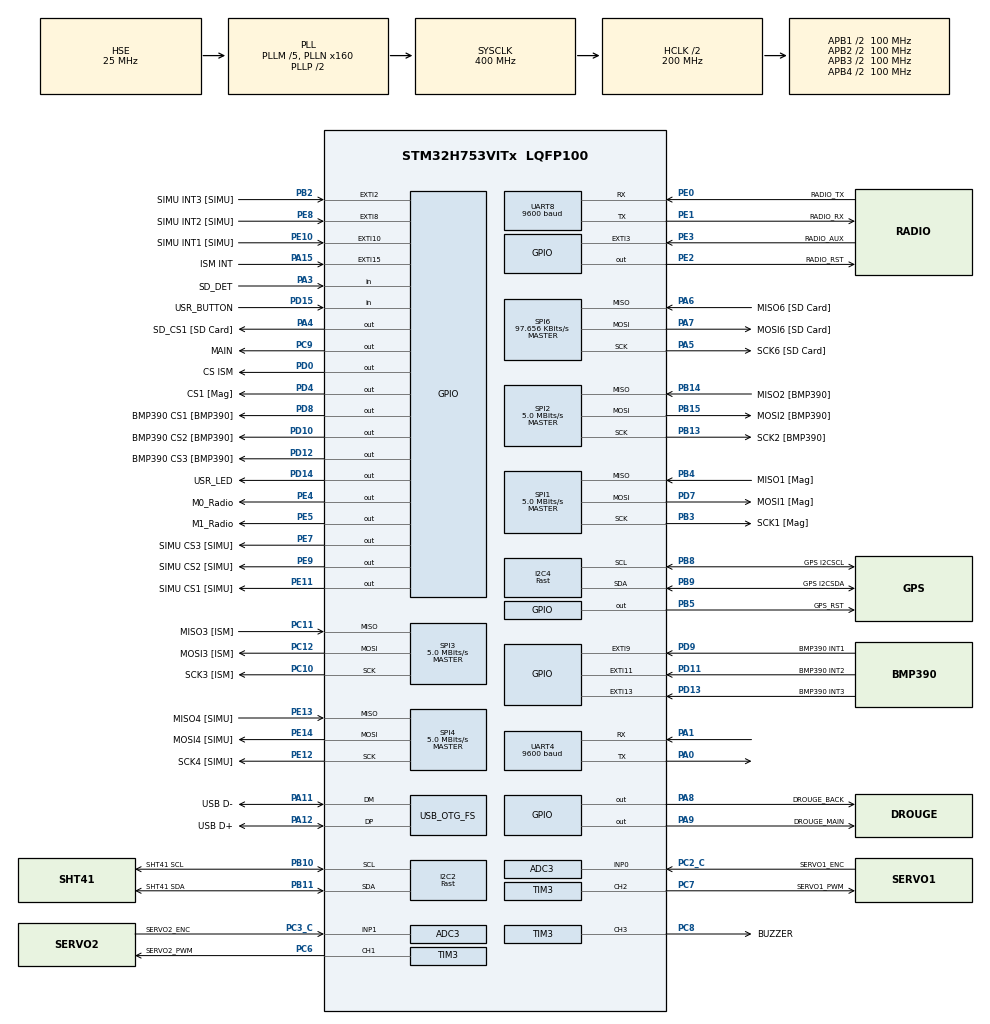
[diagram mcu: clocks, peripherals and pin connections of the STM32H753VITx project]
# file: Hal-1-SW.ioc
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ADC3.Channel-0\#ChannelRegularConversion=ADC_CHANNEL_0
ADC3.Channel-1\#ChannelRegularConversion=ADC_CHANNEL_1
ADC3.ContinuousConvMode=DISABLE
ADC3.EOCSelection=ADC_EOC_SINGLE_CONV
ADC3.NbrOfConversion=2
ADC3.NbrOfConversionFlag=1
ADC3.OffsetNumber-0\#ChannelRegularConversion=ADC_OFFSET_NONE
ADC3.OffsetNumber-1\#ChannelRegularConversion=ADC_OFFSET_NONE
ADC3.OffsetSignedSaturation-0\#ChannelRegularConversion=DISABLE
ADC3.OffsetSignedSaturation-1\#ChannelRegularConversion=DISABLE
ADC3.Overrun=ADC_OVR_DATA_OVERWRITTEN
ADC3.Rank-0\#ChannelRegularConversion=1
ADC3.Rank-1\#ChannelRegularConversion=2
ADC3.Resolution=ADC_RESOLUTION_16B
ADC3.SamplingTime-0\#ChannelRegularConversion=ADC_SAMPLETIME_810CYCLES_5
ADC3.SamplingTime-1\#ChannelRegularConversion=ADC_SAMPLETIME_810CYCLES_5
CORTEX_M7.default_mode_Activation=1
FREERTOS.Tasks01=defaultTask,24,1024,StartDefaultTask,Default,NULL,Dynamic,NULL,NULL
FREERTOS.configTOTAL_HEAP_SIZE=48000
I2C2.I2C_Speed_Mode=I2C_Fast
I2C2.Timing=0x009034B6
I2C4.I2C_Speed_Mode=I2C_Fast
I2C4.Timing=0x009034B6
Mcu.Family=STM32H7
Mcu.Name=STM32H753VITx
Mcu.Package=LQFP100
NVIC.EXTI3_IRQn=true\:5\:0\:false\:false\:true\:true\:true\:true\:true
NVIC.PriorityGroup=NVIC_PRIORITYGROUP_4
NVIC.TIM1_UP_IRQn=true\:15\:0\:false\:false\:true\:false\:false\:true\:true
NVIC.TimeBase=TIM1_UP_IRQn
NVIC.TimeBaseIP=TIM1
NVIC.UART8_IRQn=true\:5\:0\:false\:false\:true\:true\:true\:true\:true
PA0.Mode=Asynchronous
PA0.Signal=UART4_TX
PA1.Mode=Asynchronous
PA1.Signal=UART4_RX
PA11.GPIO_Label=USB D-
PA11.Mode=Device_Only
PA11.Signal=USB_OTG_FS_DM
PA12.GPIO_Label=USB D+
PA12.Mode=Device_Only
PA12.Signal=USB_OTG_FS_DP
PA13\ (JTMS/SWDIO).Mode=Serial_Wire
PA13\ (JTMS/SWDIO).Signal=DEBUG_JTMS-SWDIO
PA14\ (JTCK/SWCLK).Mode=Serial_Wire
PA14\ (JTCK/SWCLK).Signal=DEBUG_JTCK-SWCLK
PA15\ (JTDI).GPIO_Label=ISM INT
PA15\ (JTDI).Signal=GPXTI15
PA3.GPIO_Label=SD_DET
PA3.Signal=GPIO_Input
PA4.GPIO_Label=SD_CS1 [SD Card]
PA4.Signal=GPIO_Output
PA5.GPIO_Label=SCK6 [SD Card]
PA5.Mode=Full_Duplex_Master
PA5.Signal=SPI6_SCK
PA6.GPIO_Label=MISO6 [SD Card]
PA6.Mode=Full_Duplex_Master
PA6.Signal=SPI6_MISO
PA7.GPIO_Label=MOSI6 [SD Card]
PA7.Mode=Full_Duplex_Master
PA7.Signal=SPI6_MOSI
PA8.GPIO_Label=DROUGE_BACK
PA8.Signal=GPIO_Output
PA9.GPIO_Label=DROUGE_MAIN
PA9.Signal=GPIO_Output
PB10.GPIO_Label=SHT41 SCL
PB10.GPIO_Speed=GPIO_SPEED_FREQ_HIGH
PB10.Mode=I2C
PB10.Signal=I2C2_SCL
PB11.GPIO_Label=SHT41 SDA
PB11.GPIO_Speed=GPIO_SPEED_FREQ_HIGH
PB11.Mode=I2C
PB11.Signal=I2C2_SDA
PB13.GPIO_Label=SCK2 [BMP390]
PB13.GPIO_Speed=GPIO_SPEED_FREQ_VERY_HIGH
PB13.Mode=Full_Duplex_Master
PB13.Signal=SPI2_SCK
PB14.GPIO_Label=MISO2 [BMP390]
PB14.GPIO_Speed=GPIO_SPEED_FREQ_VERY_HIGH
PB14.Mode=Full_Duplex_Master
PB14.Signal=SPI2_MISO
PB15.GPIO_Label=MOSI2 [BMP390]
PB15.GPIO_Speed=GPIO_SPEED_FREQ_VERY_HIGH
PB15.Mode=Full_Duplex_Master
PB15.Signal=SPI2_MOSI
PB2.GPIO_Label=SIMU INT3 [SIMU]
PB2.Signal=GPXTI2
PB3\ (JTDO/TRACESWO).GPIO_Label=SCK1 [Mag]
PB3\ (JTDO/TRACESWO).Mode=Full_Duplex_Master
PB3\ (JTDO/TRACESWO).Signal=SPI1_SCK
PB4\ (NJTRST).GPIO_Label=MISO1 [Mag]
PB4\ (NJTRST).Mode=Full_Duplex_Master
PB4\ (NJTRST).Signal=SPI1_MISO
PB5.GPIO_Label=GPS_RST
PB5.Signal=GPIO_Output
PB8.GPIO_Label=GPS I2CSCL
PB8.GPIO_Speed=GPIO_SPEED_FREQ_HIGH
PB8.Mode=I2C
PB8.Signal=I2C4_SCL
PB9.GPIO_Label=GPS I2CSDA
PB9.GPIO_Speed=GPIO_SPEED_FREQ_HIGH
PB9.Mode=I2C
PB9.Signal=I2C4_SDA
PC10.GPIO_Label=SCK3 [ISM]
PC10.Mode=Full_Duplex_Master
PC10.Signal=SPI3_SCK
PC11.GPIO_Label=MISO3 [ISM]
PC11.Mode=Full_Duplex_Master
PC11.Signal=SPI3_MISO
PC12.GPIO_Label=MOSI3 [ISM]
PC12.Mode=Full_Duplex_Master
PC12.Signal=SPI3_MOSI
PC2_C.GPIO_Label=SERVO1_ENC
PC2_C.GPIO_Mode=GPIO_MODE_ANALOG
PC2_C.GPIO_Pd=GPIO_NOPULL
PC2_C.Mode=IN0-Single-Ended
PC2_C.Signal=ADC3_INP0
PC3_C.GPIO_Label=SERVO2_ENC
PC3_C.Mode=IN1-Single-Ended
PC3_C.Signal=ADC3_INP1
PC6.GPIO_Label=SERVO2_PWM
PC6.Signal=S_TIM3_CH1
PC7.GPIO_Label=SERVO1_PWM
PC7.Signal=S_TIM3_CH2
PC8.GPIO_Label=BUZZER
PC8.Signal=S_TIM3_CH3
PC9.GPIO_Label=MAIN
PC9.Signal=GPIO_Output
PD0.GPIO_Label=CS ISM
PD0.Signal=GPIO_Output
PD10.GPIO_Label=BMP390 CS2 [BMP390]
PD10.Signal=GPIO_Output
PD11.GPIO_Label=BMP390 INT2
PD11.Signal=GPXTI11
PD12.GPIO_Label=BMP390 CS3 [BMP390]
PD12.Signal=GPIO_Output
PD13.GPIO_Label=BMP390 INT3
PD13.Signal=GPXTI13
PD14.GPIO_Label=USR_LED
PD14.Signal=GPIO_Output
PD15.GPIO_Label=USR_BUTTON
PD15.Signal=GPIO_Input
PD4.GPIO_Label=CS1 [Mag]
PD4.Signal=GPIO_Output
PD7.GPIO_Label=MOSI1 [Mag]
PD7.Mode=Full_Duplex_Master
PD7.Signal=SPI1_MOSI
PD8.GPIO_Label=BMP390 CS1 [BMP390]
PD8.Signal=GPIO_Output
PD9.GPIO_Label=BMP390 INT1
PD9.Signal=GPXTI9
PE0.GPIO_Label=RADIO_TX
PE0.GPIO_Speed=GPIO_SPEED_FREQ_VERY_HIGH
PE0.Mode=Asynchronous
PE0.Signal=UART8_RX
PE1.GPIO_Label=RADIO_RX
PE1.GPIO_Speed=GPIO_SPEED_FREQ_VERY_HIGH
PE1.Mode=Asynchronous
PE1.Signal=UART8_TX
PE10.GPIO_Label=SIMU INT1 [SIMU]
PE10.Signal=GPXTI10
PE11.GPIO_Label=SIMU CS1 [SIMU]
PE11.Signal=GPIO_Output
PE12.GPIO_Label=SCK4 [SIMU]
PE12.GPIO_Speed=GPIO_SPEED_FREQ_HIGH
PE12.Mode=Full_Duplex_Master
PE12.Signal=SPI4_SCK
PE13.GPIO_Label=MISO4 [SIMU]
PE13.GPIO_Speed=GPIO_SPEED_FREQ_HIGH
PE13.Mode=Full_Duplex_Master
PE13.Signal=SPI4_MISO
PE14.GPIO_Label=MOSI4 [SIMU]
PE14.GPIO_Speed=GPIO_SPEED_FREQ_HIGH
PE14.Mode=Full_Duplex_Master
PE14.Signal=SPI4_MOSI
PE2.GPIO_Label=RADIO_RST
PE2.Signal=GPIO_Output
PE3.GPIO_Label=RADIO_AUX
PE3.Signal=GPXTI3
PE4.GPIO_Label=M0_Radio
PE4.Signal=GPIO_Output
PE5.GPIO_Label=M1_Radio
PE5.Signal=GPIO_Output
PE7.GPIO_Label=SIMU CS3 [SIMU]
PE7.Signal=GPIO_Output
PE8.GPIO_Label=SIMU INT2 [SIMU]
PE8.Signal=GPXTI8
PE9.GPIO_Label=SIMU CS2 [SIMU]
PE9.Signal=GPIO_Output
PH0-OSC_IN\ (PH0).Mode=HSE-External-Clock-Source
PH0-OSC_IN\ (PH0).Signal=RCC_OSC_IN
ProjectManager.HeapSize=0x200
ProjectManager.StackSize=0x400
ProjectManager.TargetToolchain=CMake
RCC.ADCFreq_Value=10000000
RCC.APB1Freq_Value=100000000
RCC.APB2Freq_Value=100000000
RCC.APB3Freq_Value=100000000
RCC.APB4Freq_Value=100000000
RCC.CortexFreq_Value=400000000
RCC.D1PPRE=RCC_APB3_DIV2
RCC.D2PPRE1=RCC_APB1_DIV2
RCC.D2PPRE2=RCC_APB2_DIV2
RCC.D3PPRE=RCC_APB4_DIV2
RCC.DIVM1=5
RCC.DIVM2=2
RCC.DIVM3=5
RCC.DIVN1=160
RCC.DIVN2=12
RCC.DIVN3=30
RCC.DIVP2=15
RCC.DIVP3=15
RCC.DIVQ1=5
RCC.DIVQ2=15
RCC.DIVQ3=6
RCC.DIVR3=3
RCC.HCLKFreq_Value=200000000
RCC.HPRE=RCC_HCLK_DIV2
RCC.PLL2FRACN=0
RCC.PLL2_VCI_Range-AdvancedSettings=RCC_PLL2VCIRANGE_0
RCC.PLL3FRACN=0
RCC.PLLFRACN=0
RCC.PLLSourceVirtual=RCC_PLLSOURCE_HSE
RCC.SPI123CLockSelection=RCC_SPI123CLKSOURCE_PLL2
RCC.SPI6CLockSelection=RCC_SPI6CLKSOURCE_PLL3
RCC.SYSCLKFreq_VALUE=400000000
RCC.SYSCLKSource=RCC_SYSCLKSOURCE_PLLCLK
RCC.Spi45ClockSelection=RCC_SPI45CLKSOURCE_PLL2
RCC.USART234578CLockSelection=RCC_USART234578CLKSOURCE_PLL2
RCC.USBCLockSelection=RCC_USBCLKSOURCE_PLL3
RCC.USBFreq_Value=25000000
SH.S_TIM3_CH1.0=TIM3_CH1,PWM Generation1 CH1
SH.S_TIM3_CH2.0=TIM3_CH2,PWM Generation2 CH2
SH.S_TIM3_CH3.0=TIM3_CH3,PWM Generation3 CH3
SPI1.BaudRatePrescaler=SPI_BAUDRATEPRESCALER_2
SPI1.CLKPhase=SPI_PHASE_1EDGE
SPI1.CalculateBaudRate=5.0 MBits/s
SPI1.Direction=SPI_DIRECTION_2LINES
SPI1.Mode=SPI_MODE_MASTER
SPI1.VirtualType=VM_MASTER
SPI2.BaudRatePrescaler=SPI_BAUDRATEPRESCALER_2
SPI2.CLKPhase=SPI_PHASE_1EDGE
SPI2.CalculateBaudRate=5.0 MBits/s
SPI2.DataSize=SPI_DATASIZE_8BIT
SPI2.Direction=SPI_DIRECTION_2LINES
SPI2.Mode=SPI_MODE_MASTER
SPI2.VirtualType=VM_MASTER
SPI3.BaudRatePrescaler=SPI_BAUDRATEPRESCALER_2
SPI3.CalculateBaudRate=5.0 MBits/s
SPI3.Direction=SPI_DIRECTION_2LINES
SPI3.Mode=SPI_MODE_MASTER
SPI3.VirtualType=VM_MASTER
SPI4.BaudRatePrescaler=SPI_BAUDRATEPRESCALER_2
SPI4.CalculateBaudRate=5.0 MBits/s
SPI4.DataSize=SPI_DATASIZE_8BIT
SPI4.Direction=SPI_DIRECTION_2LINES
SPI4.Mode=SPI_MODE_MASTER
SPI4.VirtualType=VM_MASTER
SPI6.BaudRatePrescaler=SPI_BAUDRATEPRESCALER_256
SPI6.CalculateBaudRate=97.656 KBits/s
SPI6.DataSize=SPI_DATASIZE_8BIT
SPI6.Direction=SPI_DIRECTION_2LINES
SPI6.Mode=SPI_MODE_MASTER
SPI6.VirtualType=VM_MASTER
TIM3.Channel-PWM\ Generation1\ CH1=TIM_CHANNEL_1
TIM3.Channel-PWM\ Generation2\ CH2=TIM_CHANNEL_2
TIM3.Channel-PWM\ Generation3\ CH3=TIM_CHANNEL_3
TIM3.Prescaler=99
UART4.BaudRate=9600
UART8.AutoBaudRateEnableParam=UART_ADVFEATURE_AUTOBAUDRATE_DISABLE
UART8.BaudRate=9600
UART8.DMADisableonRxErrorParam=UART_ADVFEATURE_DMA_DISABLEONRXERROR
UART8.FIFOMode=FIFOMODE_ENABLE
UART8.MSBFirstParam=UART_ADVFEATURE_MSBFIRST_DISABLE
UART8.OverSampling=UART_OVERSAMPLING_16
UART8.OverrunDisableParam=UART_ADVFEATURE_OVERRUN_DISABLE
UART8.SwapParam=UART_ADVFEATURE_SWAP_ENABLE
USB_OTG_FS.VirtualMode=Device_Only
VP_FATFS_VS_Generic.Mode=User_defined
VP_FREERTOS_VS_CMSIS_V2.Mode=CMSIS_V2
VP_MEMORYMAP_VS_MEMORYMAP.Mode=CurAppReg
VP_SYS_VS_tim1.Mode=TIM1
board=custom

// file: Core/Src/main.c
/* USER CODE BEGIN Header */
/**
  ******************************************************************************
  * @file           : main.c
  * @brief          : Main program body
  ******************************************************************************
  * @attention
  *
  * Copyright (c) 2025 STMicroelectronics.
  * All rights reserved.
  *
  * This software is licensed under terms that can be found in the LICENSE file
  * in the root directory of this software component.
  * If no LICENSE file comes with this software, it is provided AS-IS.
  *
  ******************************************************************************
  */
/* USER CODE END Header */
#include "main.h"
#include "cmsis_os.h"
#include "adc.h"
#include "fatfs.h"
#include "i2c.h"
#include "spi.h"
#include "tim.h"
#include "usart.h"
#include "usb_otg.h"
#include "gpio.h"

/* USER CODE BEGIN Includes */
#include "timing.h"
/* USER CODE END Includes */

void SystemClock_Config(void);
void PeriphCommonClock_Config(void);
static void MPU_Config(void);
void MX_FREERTOS_Init(void);

int main(void)
{

  /* MPU Configuration--------------------------------------------------------*/
  MPU_Config();

  /* MCU Configuration--------------------------------------------------------*/

  /* Reset of all peripherals, Initializes the Flash interface and the Systick. */
  HAL_Init();

  /* Configure the system clock */
  SystemClock_Config();

  /* Configure the peripherals common clocks */
  PeriphCommonClock_Config();

  /* Initialize all configured peripherals */
  MX_GPIO_Init();
  MX_ADC3_Init();
  MX_I2C2_Init();
  MX_I2C4_Init();
  MX_SPI1_Init();
  MX_SPI2_Init();
  MX_SPI3_Init();
  MX_SPI4_Init();
  MX_SPI6_Init();
  MX_TIM3_Init();
  MX_UART4_Init();
  MX_UART8_Init();
  MX_USB_OTG_FS_PCD_Init();
  /* MX_FATFS_Init(); */  /* moved into task() in main.cpp — must run after scheduler starts */

  /* Init scheduler */
  osKernelInitialize();  /* Call init function for freertos objects (in cmsis_os2.c) */
  MX_FREERTOS_Init();

  /* Start scheduler */
  osKernelStart();

  /* We should never get here as control is now taken by the scheduler */

  /* Infinite loop */
  while (1)
  {

  }
}

void SystemClock_Config(void)
{
  RCC_OscInitTypeDef RCC_OscInitStruct = {0};
  RCC_ClkInitTypeDef RCC_ClkInitStruct = {0};

  /** Supply configuration update enable
  */
  HAL_PWREx_ConfigSupply(PWR_LDO_SUPPLY);

  /** Configure the main internal regulator output voltage
  */
  __HAL_PWR_VOLTAGESCALING_CONFIG(PWR_REGULATOR_VOLTAGE_SCALE1);

  while(!__HAL_PWR_GET_FLAG(PWR_FLAG_VOSRDY)) {}

  /** Initializes the RCC Oscillators according to the specified parameters
  * in the RCC_OscInitTypeDef structure.
  */
  RCC_OscInitStruct.OscillatorType = RCC_OSCILLATORTYPE_HSE;
  RCC_OscInitStruct.HSEState = RCC_HSE_BYPASS;
  RCC_OscInitStruct.PLL.PLLState = RCC_PLL_ON;
  RCC_OscInitStruct.PLL.PLLSource = RCC_PLLSOURCE_HSE;
  RCC_OscInitStruct.PLL.PLLM = 5;
  RCC_OscInitStruct.PLL.PLLN = 160;
  RCC_OscInitStruct.PLL.PLLP = 2;
  RCC_OscInitStruct.PLL.PLLQ = 5;
  RCC_OscInitStruct.PLL.PLLR = 2;
  RCC_OscInitStruct.PLL.PLLRGE = RCC_PLL1VCIRANGE_2;
  RCC_OscInitStruct.PLL.PLLVCOSEL = RCC_PLL1VCOWIDE;
  RCC_OscInitStruct.PLL.PLLFRACN = 0;
  if (HAL_RCC_OscConfig(&RCC_OscInitStruct) != HAL_OK)
  {
    Error_Handler();
  }

  /** Initializes the CPU, AHB and APB buses clocks
  */
  RCC_ClkInitStruct.ClockType = RCC_CLOCKTYPE_HCLK|RCC_CLOCKTYPE_SYSCLK
                              |RCC_CLOCKTYPE_PCLK1|RCC_CLOCKTYPE_PCLK2
                              |RCC_CLOCKTYPE_D3PCLK1|RCC_CLOCKTYPE_D1PCLK1;
  RCC_ClkInitStruct.SYSCLKSource = RCC_SYSCLKSOURCE_PLLCLK;
  RCC_ClkInitStruct.SYSCLKDivider = RCC_SYSCLK_DIV1;
  RCC_ClkInitStruct.AHBCLKDivider = RCC_HCLK_DIV2;
  RCC_ClkInitStruct.APB3CLKDivider = RCC_APB3_DIV2;
  RCC_ClkInitStruct.APB1CLKDivider = RCC_APB1_DIV2;
  RCC_ClkInitStruct.APB2CLKDivider = RCC_APB2_DIV2;
  RCC_ClkInitStruct.APB4CLKDivider = RCC_APB4_DIV2;

  if (HAL_RCC_ClockConfig(&RCC_ClkInitStruct, FLASH_LATENCY_2) != HAL_OK)
  {
    Error_Handler();
  }
}

void PeriphCommonClock_Config(void)
{
  RCC_PeriphCLKInitTypeDef PeriphClkInitStruct = {0};

  /** Initializes the peripherals clock
  */
  PeriphClkInitStruct.PeriphClockSelection = RCC_PERIPHCLK_USB|RCC_PERIPHCLK_SPI6
                              |RCC_PERIPHCLK_ADC|RCC_PERIPHCLK_SPI3
                              |RCC_PERIPHCLK_SPI2|RCC_PERIPHCLK_SPI1
                              |RCC_PERIPHCLK_SPI4|RCC_PERIPHCLK_UART8
                              |RCC_PERIPHCLK_UART4;
  PeriphClkInitStruct.PLL2.PLL2M = 2;
  PeriphClkInitStruct.PLL2.PLL2N = 12;
  PeriphClkInitStruct.PLL2.PLL2P = 15;
  PeriphClkInitStruct.PLL2.PLL2Q = 15;
  PeriphClkInitStruct.PLL2.PLL2R = 2;
  PeriphClkInitStruct.PLL2.PLL2RGE = RCC_PLL2VCIRANGE_3;
  PeriphClkInitStruct.PLL2.PLL2VCOSEL = RCC_PLL2VCOMEDIUM;
  PeriphClkInitStruct.PLL2.PLL2FRACN = 0;
  PeriphClkInitStruct.PLL3.PLL3M = 5;
  PeriphClkInitStruct.PLL3.PLL3N = 30;
  PeriphClkInitStruct.PLL3.PLL3P = 15;
  PeriphClkInitStruct.PLL3.PLL3Q = 6;
  PeriphClkInitStruct.PLL3.PLL3R = 3;
  PeriphClkInitStruct.PLL3.PLL3RGE = RCC_PLL3VCIRANGE_2;
  PeriphClkInitStruct.PLL3.PLL3VCOSEL = RCC_PLL3VCOMEDIUM;
  PeriphClkInitStruct.PLL3.PLL3FRACN = 0;
  PeriphClkInitStruct.Spi123ClockSelection = RCC_SPI123CLKSOURCE_PLL2;
  PeriphClkInitStruct.Spi45ClockSelection = RCC_SPI45CLKSOURCE_PLL2;
  PeriphClkInitStruct.Usart234578ClockSelection = RCC_USART234578CLKSOURCE_PLL2;
  PeriphClkInitStruct.UsbClockSelection = RCC_USBCLKSOURCE_PLL3;
  PeriphClkInitStruct.AdcClockSelection = RCC_ADCCLKSOURCE_PLL2;
  PeriphClkInitStruct.Spi6ClockSelection = RCC_SPI6CLKSOURCE_PLL3;
  if (HAL_RCCEx_PeriphCLKConfig(&PeriphClkInitStruct) != HAL_OK)
  {
    Error_Handler();
  }
}

 /* MPU Configuration */

void MPU_Config(void)
{
  MPU_Region_InitTypeDef MPU_InitStruct = {0};

  /* Disables the MPU */
  HAL_MPU_Disable();

  /** Initializes and configures the Region and the memory to be protected
  */
  MPU_InitStruct.Enable = MPU_REGION_ENABLE;
  MPU_InitStruct.Number = MPU_REGION_NUMBER0;
  MPU_InitStruct.BaseAddress = 0x0;
  MPU_InitStruct.Size = MPU_REGION_SIZE_4GB;
  MPU_InitStruct.SubRegionDisable = 0x87;
  MPU_InitStruct.TypeExtField = MPU_TEX_LEVEL0;
  MPU_InitStruct.AccessPermission = MPU_REGION_NO_ACCESS;
  MPU_InitStruct.DisableExec = MPU_INSTRUCTION_ACCESS_DISABLE;
  MPU_InitStruct.IsShareable = MPU_ACCESS_SHAREABLE;
  MPU_InitStruct.IsCacheable = MPU_ACCESS_NOT_CACHEABLE;
  MPU_InitStruct.IsBufferable = MPU_ACCESS_NOT_BUFFERABLE;

  HAL_MPU_ConfigRegion(&MPU_InitStruct);
  /* Enables the MPU */
  HAL_MPU_Enable(MPU_PRIVILEGED_DEFAULT);

}

void HAL_TIM_PeriodElapsedCallback(TIM_HandleTypeDef *htim)
{
  if (htim->Instance == TIM1)
  {
    HAL_IncTick();
  }
}

void Error_Handler(void)
{
  __disable_irq();
  while (1)
  {
  }
}

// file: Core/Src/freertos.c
/* USER CODE BEGIN Header */
/**
  ******************************************************************************
  * File Name          : freertos.c
  * Description        : Code for freertos applications
  ******************************************************************************
  * @attention
  *
  * Copyright (c) 2026 STMicroelectronics.
  * All rights reserved.
  *
  * This software is licensed under terms that can be found in the LICENSE file
  * in the root directory of this software component.
  * If no LICENSE file comes with this software, it is provided AS-IS.
  *
  ******************************************************************************
  */
/* USER CODE END Header */

#include "FreeRTOS.h"
#include "task.h"
#include "main.h"
#include "cmsis_os.h"

/* USER CODE BEGIN Includes */
#include "timing.h"
/* USER CODE END Includes */

/* USER CODE BEGIN PD */
void FC_Init(void*);
void ctrlsInit(void);
void updateSensorTask(void*);
void updateDataTask(void*);
void Radio(void*);
void CTRLs(void*);
void SDLogTask(void*);
void Initial_Condition_Tare(void*);
extern TaskHandle_t updateDataTaskHandle;
extern TaskHandle_t CTRLIndicationHandle;
/* USER CODE END PD */

/* USER CODE BEGIN Variables */
osThreadId_t updateDataHandle;
const osThreadAttr_t updateData_attributes = {
  .name = "updateData",
  .stack_size = 8192,
  .priority = (osPriority_t) osPriorityAboveNormal,
};
/* USER CODE END Variables */
/* Definitions for defaultTask */
osThreadId_t defaultTaskHandle;
const osThreadAttr_t defaultTask_attributes = {
  .name = "defaultTask",
  .stack_size = 1024 * 4,
  .priority = (osPriority_t) osPriorityNormal,
};

void StartDefaultTask(void *argument);

void MX_FREERTOS_Init(void); /* (MISRA C 2004 rule 8.1) */

void MX_FREERTOS_Init(void) {

  /* USER CODE BEGIN RTOS_MUTEX */
  ctrlsInit();  // create controls sensor/output mutexes before any task runs
  /* USER CODE END RTOS_MUTEX */

  /* USER CODE BEGIN RTOS_QUEUES */
  /* add queues, ... */
  // ── FC init (runs once, sets up DWT timer and peripherals) ──────────────────
  defaultTaskHandle = osThreadNew(FC_Init, NULL, &defaultTask_attributes);

  // ── Radio (telemetry TX/RX + command processing) ──────────────────────────────
  // Must match CTRLs priority so FreeRTOS time-slices between them rather than
  // letting CTRLs preempt Radio mid HAL_UART_Receive and corrupt the RX window.
  static const osThreadAttr_t radioTask_attr = {
    .name = "Radio", .stack_size = 4096, .priority = osPriorityRealtime,
  };
  osThreadNew(Radio, NULL, &radioTask_attr);

  // ── Sensor read → data fusion pipeline ───────────────────────────────────────
  // Realtime priority so neither task is preempted mid-commit by CTRLs, and so
  // the notification chain (sensor → fusion → CTRLs) runs with minimum latency.
  static const osThreadAttr_t sensorTask_attr = {
    .name = "updateSensor", .stack_size = 4096, .priority = osPriorityRealtime,
  };
  updateDataHandle = osThreadNew(updateSensorTask, NULL, &sensorTask_attr);

  static const osThreadAttr_t dataTask_attr = {
    .name = "updateData", .stack_size = 4096, .priority = osPriorityRealtime,
  };
  updateDataTaskHandle = osThreadNew(updateDataTask, NULL, &dataTask_attr);

  // ── Controls (EKF + roll law) ─────────────────────────────────────────────────
  static const osThreadAttr_t ctrlsTask_attr = {
    .name = "CTRLs", .stack_size = 4096 * 3, .priority = osPriorityRealtime,
  };
  CTRLIndicationHandle = osThreadNew(CTRLs, NULL, &ctrlsTask_attr);

  // ── SD card logger (50 Hz CSV, AboveNormal so it doesn't starve flight tasks) ──
  static const osThreadAttr_t sdlogTask_attr = {
    .name = "SDLog", .stack_size = 2048, .priority = osPriorityAboveNormal,
  };
  osThreadNew(SDLogTask, NULL, &sdlogTask_attr);

  // ── Initial condition tare (10 Hz IMU monitor; suspends itself after tare) ──
  static const osThreadAttr_t tareTask_attr = {
    .name = "ICTare", .stack_size = 512, .priority = osPriorityBelowNormal,
  };
  osThreadNew(Initial_Condition_Tare, NULL, &tareTask_attr);

  return;
  /* USER CODE END RTOS_QUEUES */

  /* Create the thread(s) */
  /* creation of defaultTask */
  defaultTaskHandle = osThreadNew(StartDefaultTask, NULL, &defaultTask_attributes);

}

void StartDefaultTask(void *argument)
{
  for(;;)
  {
    osDelay(1);
  }
}
